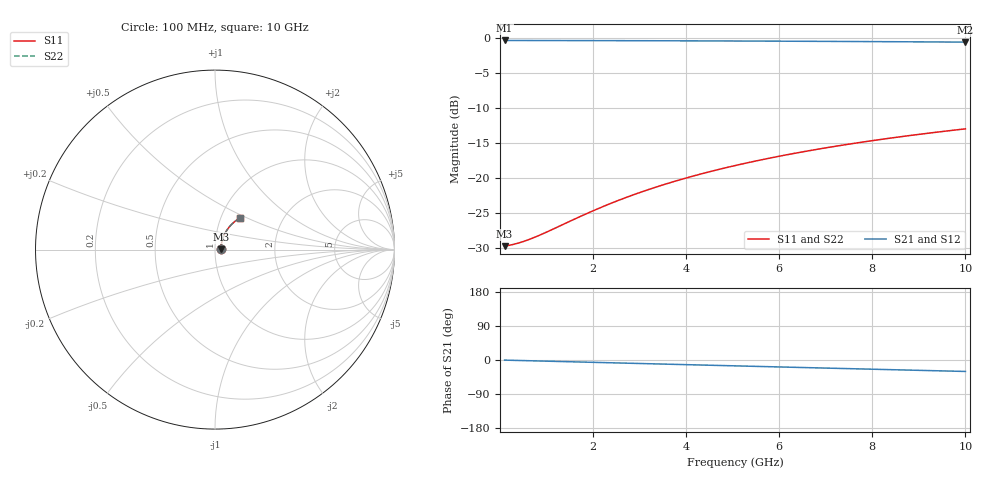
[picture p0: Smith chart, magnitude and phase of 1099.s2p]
# Hz S RI R 50.00
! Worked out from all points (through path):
!   100 points, 100 MHz to 10 GHz, reference 50 ohm
!   highest |S21| = -0.29 dB at 100 MHz (marker M1); lowest = -0.5 dB at 10 GHz (marker M2)
!   group delay of S21, straight-line fit = 8.4 ps
!   lowest |S11| = -29.8 dB at 100 MHz (marker M3), VSWR 1.07, Z = 53.3 + j0.235 ohm
!   |S11| at or under -10 dB: start of sweep to end of sweep
!   |S22| runs from -29.8 to -13.0 dB; largest |S21 - S12| = 0
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1e8  0.0323 0.0022  0.9677 -0.00519  0.9677 -0.00519  0.0323 0.0022
3e8  0.0327 0.0066  0.9672 -0.0156  0.9672 -0.0156  0.0327 0.0066
4e8  0.033 0.0088  0.967 -0.0208  0.967 -0.0208  0.033 0.0088
5e8  0.0332 0.011  0.9667 -0.0259  0.9667 -0.0259  0.0332 0.011
7e8  0.0336 0.0154  0.9661 -0.0363  0.9661 -0.0363  0.0336 0.0154
1e9  0.0344 0.0219  0.9651 -0.0518  0.9651 -0.0518  0.0344 0.0219
1.8e9  0.0375 0.0392  0.961 -0.093  0.961 -0.093  0.0375 0.0392
2.2e9  0.0395 0.0477  0.9582 -0.1135  0.9582 -0.1135  0.0395 0.0477
2.6e9  0.0419 0.0561  0.9549 -0.1339  0.9549 -0.1339  0.0419 0.0561
3e9  0.0447 0.0644  0.9512 -0.1541  0.9512 -0.1541  0.0447 0.0644
3.4e9  0.0477 0.0726  0.9469 -0.1743  0.9469 -0.1743  0.0477 0.0726
3.8e9  0.0512 0.0806  0.9422 -0.1942  0.9422 -0.1942  0.0512 0.0806
4.2e9  0.0549 0.0885  0.937 -0.214  0.937 -0.214  0.0549 0.0885
4.6e9  0.059 0.0961  0.9313 -0.2336  0.9313 -0.2336  0.059 0.0961
5.1e9  0.0645 0.1054  0.9235 -0.2578  0.9235 -0.2578  0.0645 0.1054
5.5e9  0.0693 0.1126  0.9168 -0.277  0.9168 -0.277  0.0693 0.1126
5.9e9  0.0743 0.1196  0.9096 -0.2959  0.9096 -0.2959  0.0743 0.1196
6.7e9  0.0853 0.1328  0.894 -0.333  0.894 -0.333  0.0853 0.1328
7.5e9  0.0973 0.145  0.8768 -0.369  0.8768 -0.369  0.0973 0.145
8.4e9  0.1118 0.1574  0.8556 -0.4081  0.8556 -0.4081  0.1118 0.1574
9.2e9  0.1256 0.1672  0.8353 -0.4416  0.8353 -0.4416  0.1256 0.1672
1e10  0.14 0.1757  0.8136 -0.4738  0.8136 -0.4738  0.14 0.1757
